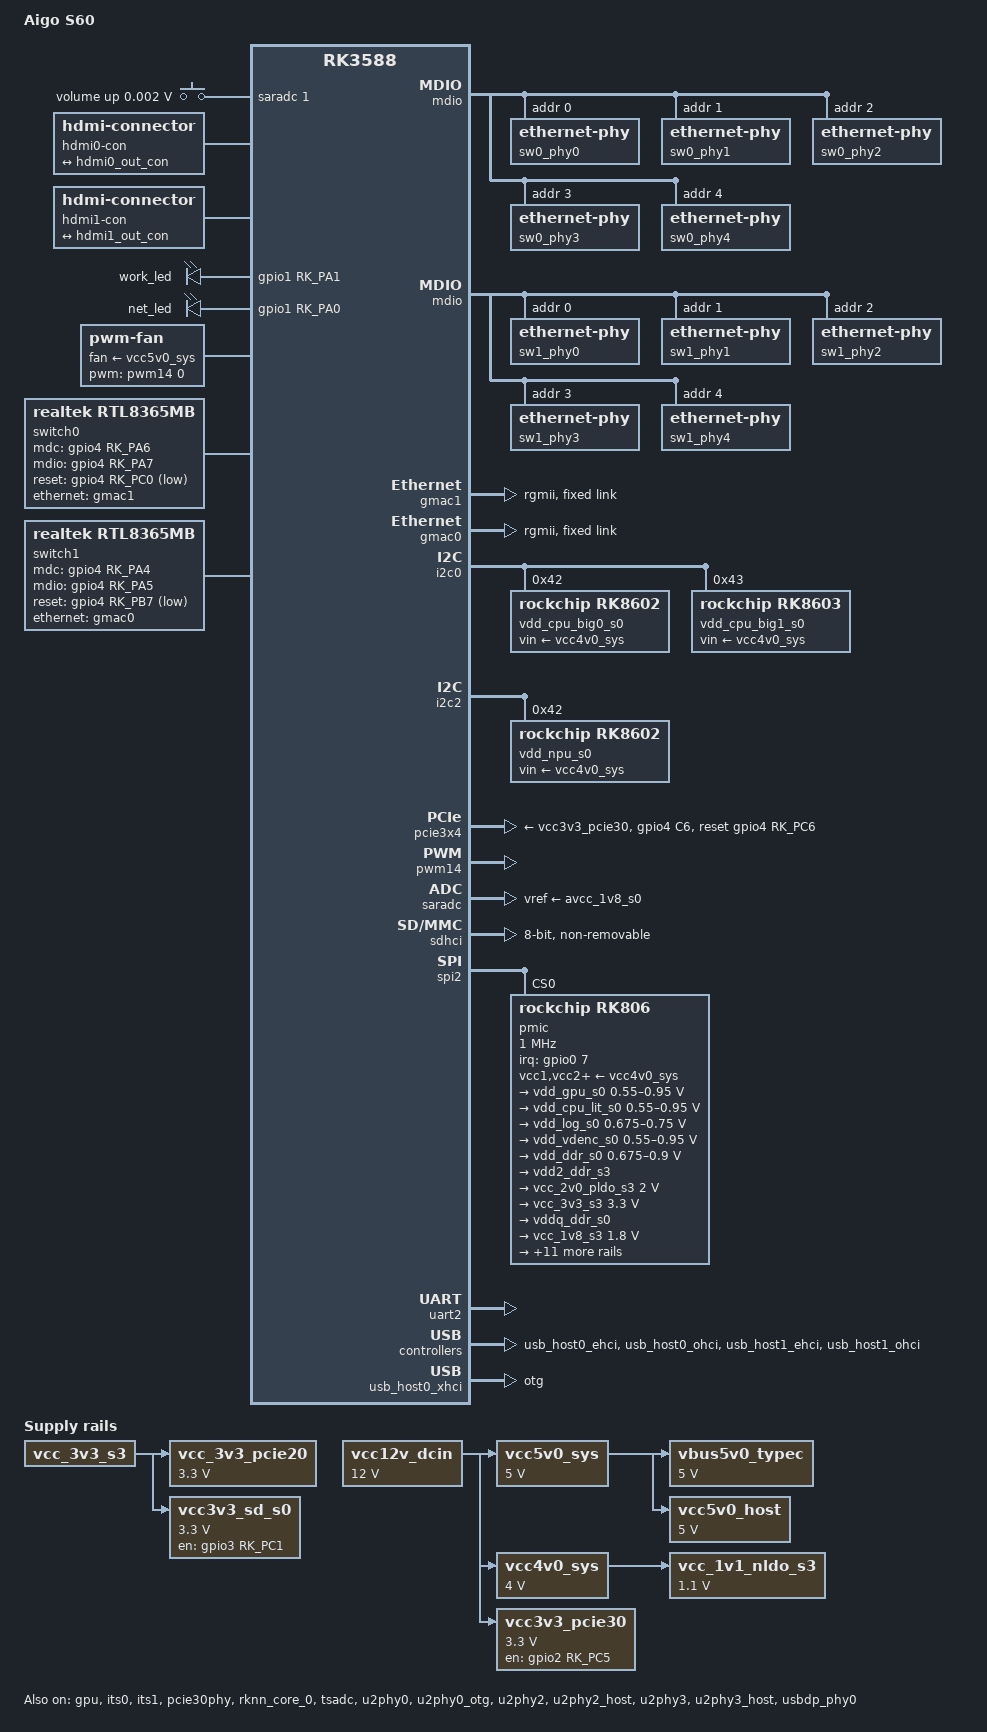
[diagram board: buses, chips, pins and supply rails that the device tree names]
// SPDX-License-Identifier: (GPL-2.0+ OR MIT)
/*
 * Copyright (c) 2021 Rockchip Electronics Co., Ltd.
 * Copyright (c) 2023 Thomas McKahan
 * Copyright (c) 2024 Linaro Ltd.
 *
 * AIoT-3588IED board device tree source
 * Based on rk3588-nanopc-t6.dtsi, with hardware
 * differences adjusted per factory-image boot.dts.
 */

/dts-v1/;

#include <dt-bindings/gpio/gpio.h>
#include <dt-bindings/input/input.h>
#include <dt-bindings/pinctrl/rockchip.h>
#include <dt-bindings/soc/rockchip,vop2.h>
#include <dt-bindings/thermal/thermal.h>
#include <dt-bindings/usb/pd.h>
#include "rk3588.dtsi"

/ {
	model = "Aigo S60";
	compatible = "rockchip,rk3588-aigo-s60", "rockchip,rk3588";

	aliases {
		mmc0 = &sdhci;
		mmc1 = &sdmmc;
		mmc2 = &sdio;
		ethernet0 = &gmac0;
		ethernet1 = &gmac1;
	};

	/* ADC keys on saradc channel 1, matching the official 6.1 BSP.
	 * The official DT configures only a vol-up key (threshold 1758μV). */
	adc-keys-0 {
		compatible = "adc-keys";
		io-channels = <&saradc 1>;
		io-channel-names = "buttons";
		keyup-threshold-microvolt = <1800000>;
		poll-interval = <100>;

		vol-up-key {
			label = "volume up";
			linux,code = <KEY_VOLUMEUP>;
			press-threshold-microvolt = <1750>;
		};
	};

	chosen {
		stdout-path = "serial2:1500000n8";
	};

	hdmi0-con {
		compatible = "hdmi-connector";
		type = "a";

		port {
			hdmi0_con_in: endpoint {
				remote-endpoint = <&hdmi0_out_con>;
			};
		};
	};

	hdmi1-con {
		compatible = "hdmi-connector";
		type = "a";

		port {
			hdmi1_con_in: endpoint {
				remote-endpoint = <&hdmi1_out_con>;
			};
		};
	};

	/* LEDs on gpio1 (gpio@fec20000), matching the official 6.1 BSP.
	 * The official DT uses net-led (gpio1 pin 0) and work-led (gpio1
	 * pin 1). The earlier nca9555 I2C GPIO-expander references are gone
	 * because i2c6 is disabled and the expander was never probed. */
	leds {
		compatible = "gpio-leds";

		work_led: work-led {
			gpios = <&gpio1 RK_PA1 GPIO_ACTIVE_HIGH>;
			linux,default-trigger = "heartbeat";
		};

		net_led: net-led {
			gpios = <&gpio1 RK_PA0 GPIO_ACTIVE_HIGH>;
			default-state = "off";
		};
	};

	/* PWM fan for thermal cooling, matching the official 6.1 BSP.
	 * The fan is on pwm14 (pwm@febf0020), NOT pwm1. Uses pwm14m0_pins
	 * as in the official DT. */
	fan: pwm-fan {
		compatible = "pwm-fan";
		cooling-levels = <0 50 100 150 200 255>;
		fan-supply = <&vcc5v0_sys>;
		pwms = <&pwm14 0 50000 0>;
		#cooling-cells = <2>;
	};

	/* sound node removed — es8388 codec was on i2c7, now disabled */

	vcc12v_dcin: regulator-vcc12v-dcin {
		compatible = "regulator-fixed";
		regulator-name = "vcc12v_dcin";
		regulator-always-on;
		regulator-boot-on;
		regulator-min-microvolt = <12000000>;
		regulator-max-microvolt = <12000000>;
	};

	/* vcc5v0_sys powers peripherals */
	vcc5v0_sys: regulator-vcc5v0-sys {
		compatible = "regulator-fixed";
		regulator-name = "vcc5v0_sys";
		regulator-always-on;
		regulator-boot-on;
		regulator-min-microvolt = <5000000>;
		regulator-max-microvolt = <5000000>;
		vin-supply = <&vcc12v_dcin>;
	};

	/* vcc4v0_sys powers the RK806, RK860's */
	vcc4v0_sys: regulator-vcc4v0-sys {
		compatible = "regulator-fixed";
		regulator-name = "vcc4v0_sys";
		regulator-always-on;
		regulator-boot-on;
		regulator-min-microvolt = <4000000>;
		regulator-max-microvolt = <4000000>;
		vin-supply = <&vcc12v_dcin>;
	};

	vcc_1v1_nldo_s3: regulator-vcc-1v1-nldo-s3 {
		compatible = "regulator-fixed";
		regulator-name = "vcc-1v1-nldo-s3";
		regulator-always-on;
		regulator-boot-on;
		regulator-min-microvolt = <1100000>;
		regulator-max-microvolt = <1100000>;
		vin-supply = <&vcc4v0_sys>;
	};

	vcc_3v3_pcie20: regulator-vcc3v3-pcie20 {
		compatible = "regulator-fixed";
		regulator-name = "vcc_3v3_pcie20";
		regulator-always-on;
		regulator-boot-on;
		regulator-min-microvolt = <3300000>;
		regulator-max-microvolt = <3300000>;
		vin-supply = <&vcc_3v3_s3>;
	};

	vbus5v0_typec: regulator-vbus5v0-typec {
		compatible = "regulator-fixed";
		enable-active-high;
		regulator-name = "vbus5v0_typec";
		regulator-min-microvolt = <5000000>;
		regulator-max-microvolt = <5000000>;
		vin-supply = <&vcc5v0_sys>;
	};

	vcc5v0_host: regulator-vcc5v0-host {
		compatible = "regulator-fixed";
		regulator-name = "vcc5v0_host";
		regulator-always-on;
		regulator-boot-on;
		regulator-min-microvolt = <5000000>;
		regulator-max-microvolt = <5000000>;
		vin-supply = <&vcc5v0_sys>;
	};

	vcc3v3_pcie30: regulator-vcc3v3-pcie30 {
		compatible = "regulator-fixed";
		enable-active-high;
		gpios = <&gpio2 RK_PC5 GPIO_ACTIVE_HIGH>;
		pinctrl-names = "default";
		pinctrl-0 = <&pcie_m2_0_pwren>;
		regulator-name = "vcc3v3_pcie30";
		regulator-min-microvolt = <3300000>;
		regulator-max-microvolt = <3300000>;
		startup-delay-us = <5000>;
		vin-supply = <&vcc12v_dcin>;
	};

	vcc3v3_sd_s0: regulator-vcc3v3-sd-s0 {
		compatible = "regulator-fixed";
		enable-active-high;
		gpio = <&gpio3 RK_PC1 GPIO_ACTIVE_HIGH>;
		pinctrl-names = "default";
		pinctrl-0 = <&sd_s0_pwren>;
		regulator-name = "vcc3v3_sd_s0";
		regulator-min-microvolt = <3300000>;
		regulator-max-microvolt = <3300000>;
		vin-supply = <&vcc_3v3_s3>;
	};

	/* RTL8365MB switch (switch0): 5 user ports (eth2..eth6).
	 * CPU port @7 connects to gmac1 (end1) via RGMII. Bit-bang SMI on gpio4.
	 * Pin mapping taken from the official 6.1 BSP device tree.
	 * Each port has a fixed label and local-mac-address (02:00:00:00:00:0x)
	 * so the names and MACs are stable across reboots. The GMAC masters
	 * are named end0/end1 (via their label property), leaving ethN free
	 * for the slave ports. */
	switch0: switch0 {
		compatible = "realtek,rtl8365mb";
		mdc-gpios = <&gpio4 RK_PA6 GPIO_ACTIVE_HIGH>;
		mdio-gpios = <&gpio4 RK_PA7 GPIO_ACTIVE_HIGH>;
		reset-gpios = <&gpio4 RK_PC0 GPIO_ACTIVE_LOW>;

		ports {
			#address-cells = <1>;
			#size-cells = <0>;

			port@0 {
				reg = <0>;
				label = "eth1";
				local-mac-address = [02 00 00 00 00 03];
				phy-handle = <&sw0_phy0>;
			};

			port@1 {
				reg = <1>;
				label = "eth2";
				local-mac-address = [02 00 00 00 00 04];
				phy-handle = <&sw0_phy1>;
			};

			port@2 {
				reg = <2>;
				label = "eth3";
				local-mac-address = [02 00 00 00 00 05];
				phy-handle = <&sw0_phy2>;
			};

			port@3 {
				reg = <3>;
				label = "eth4";
				local-mac-address = [02 00 00 00 00 06];
				phy-handle = <&sw0_phy3>;
			};

			port@4 {
				reg = <4>;
				label = "eth5";
				local-mac-address = [02 00 00 00 00 07];
				phy-handle = <&sw0_phy4>;
			};

			port@7 {
				reg = <7>;
				ethernet = <&gmac1>;
				phy-mode = "rgmii";

				fixed-link {
					speed = <1000>;
					full-duplex;
				};
			};
		};

		mdio {
			compatible = "realtek,smi-mdio";
			#address-cells = <1>;
			#size-cells = <0>;

			sw0_phy0: ethernet-phy@0 {
				reg = <0>;
			};

			sw0_phy1: ethernet-phy@1 {
				reg = <1>;
			};

			sw0_phy2: ethernet-phy@2 {
				reg = <2>;
			};

			sw0_phy3: ethernet-phy@3 {
				reg = <3>;
			};

			sw0_phy4: ethernet-phy@4 {
				reg = <4>;
			};
		};
	};

	/* RTL8367RB switch (switch1): 5 user ports (eth7..eth11).
	 * CPU port @6 connects to gmac0 (end0) via RGMII. Bit-bang SMI on gpio4.
	 * The upstream rtl8365mb driver auto-detects the chip by id; a
	 * matching compatible ("realtek,rtl8367rb") is added there.
	 * Each port has a fixed label and local-mac-address. */
	switch1: switch1 {
		/* fnos ships the upstream rtl8365mb.ko module whose
		 * of_match_table only lists "realtek,rtl8365mb" (it does NOT
		 * list "realtek,rtl8367rb"). Use "realtek,rtl8365mb" so the
		 * stock module probes this node; the driver's rtl8365mb_detect()
		 * still auto-detects the actual RTL8367RB-VB chip by reading
		 * the chip id over SMI (strings "RTL8367S"/"RTL8367RB-VB" are
		 * built into the module), exactly like it does for switch0
		 * which is also an RTL8367S behind the rtl8365mb compatible. */
		compatible = "realtek,rtl8365mb";
		mdc-gpios = <&gpio4 RK_PA4 GPIO_ACTIVE_HIGH>;
		mdio-gpios = <&gpio4 RK_PA5 GPIO_ACTIVE_HIGH>;
		reset-gpios = <&gpio4 RK_PB7 GPIO_ACTIVE_LOW>;
		/* Each switch is the sole member of its own DSA tree, so both
		 * get ds->index = 0. This is required because fnos ships the
		 * upstream tag_rtl8_4.ko which hardcodes
		 * dsa_conduit_find_user(dev, 0, port) -- device index 0. With
		 * dsa,member = <1 1> (index 1) the RX path could never resolve
		 * the user port and logged "could not find user for port N"
		 * for every ingress frame on end0. Using <1 0> makes switch1
		 * index 0 in tree 1, so the hardcoded lookup succeeds. */
		dsa,member = <1 0>;

		ports {
			#address-cells = <1>;
			#size-cells = <0>;

			port@0 {
				reg = <0>;
				label = "eth6";
				local-mac-address = [02 00 00 00 00 08];
				phy-handle = <&sw1_phy0>;
			};

			port@1 {
				reg = <1>;
				label = "eth7";
				local-mac-address = [02 00 00 00 00 09];
				phy-handle = <&sw1_phy1>;
			};

			port@2 {
				reg = <2>;
				label = "eth8";
				local-mac-address = [02 00 00 00 00 0a];
				phy-handle = <&sw1_phy2>;
			};

			port@3 {
				reg = <3>;
				label = "eth9";
				local-mac-address = [02 00 00 00 00 0b];
				phy-handle = <&sw1_phy3>;
			};

			port@4 {
				reg = <4>;
				label = "eth10";
				local-mac-address = [02 00 00 00 00 0c];
				phy-handle = <&sw1_phy4>;
			};

			/* CPU port: upstream rtl8365mb caps at 11 ports (mask 0x07FF),
			 * so port@16 (used by the Rockchip BSP proprietary rtl_api
			 * driver) is rejected.
			 *
			 * We use port@6 which maps to extint 1 in the rtl8365mb driver.
			 * The official Rockchip BSP rtl8367b driver maps RTL8367R_VB's
			 * cpu_port=5 → extif 1, and extif 1 corresponds to extint 1 in
			 * rtl8365mb (same physical RGMII interface, uses CHIP_DEBUG0/1
			 * registers, not CHIP_DEBUG2). On RTL8367RB-VB, extint 1
			 * supports RGMII (unlike RTL8367S where extint 1 is SGMII-only).
			 *
			 * port@7 + extint 2 was tried first but gmac0's DMA SFT_RESET
			 * stayed stuck (no RGMII RX clock), suggesting the board's
			 * RGMII traces for switch1 are physically routed to extint 1. */
			port@6 {
				reg = <6>;
				ethernet = <&gmac0>;
				phy-mode = "rgmii";

				fixed-link {
					speed = <1000>;
					full-duplex;
				};
			};
		};

		mdio {
			compatible = "realtek,smi-mdio";
			#address-cells = <1>;
			#size-cells = <0>;

			sw1_phy0: ethernet-phy@0 {
				reg = <0>;
			};

			sw1_phy1: ethernet-phy@1 {
				reg = <1>;
			};

			sw1_phy2: ethernet-phy@2 {
				reg = <2>;
			};

			sw1_phy3: ethernet-phy@3 {
				reg = <3>;
			};

			sw1_phy4: ethernet-phy@4 {
				reg = <4>;
			};
		};
	};
};

&combphy0_ps {
	status = "disabled";
};

&combphy1_ps {
	status = "disabled";
};

&combphy2_psu {
	status = "disabled";
};

&cpu_l0 {
	cpu-supply = <&vdd_cpu_lit_s0>;
};

&cpu_l1 {
	cpu-supply = <&vdd_cpu_lit_s0>;
};

&cpu_l2 {
	cpu-supply = <&vdd_cpu_lit_s0>;
};

&cpu_l3 {
	cpu-supply = <&vdd_cpu_lit_s0>;
};

&cpu_b0 {
	cpu-supply = <&vdd_cpu_big0_s0>;
};

&cpu_b1 {
	cpu-supply = <&vdd_cpu_big0_s0>;
};

&cpu_b2 {
	cpu-supply = <&vdd_cpu_big1_s0>;
};

&cpu_b3 {
	cpu-supply = <&vdd_cpu_big1_s0>;
};

/* GMAC1 (fe1c0000) — DSA CPU port for switch0 (RTL8365MB, eth1..eth5).
 * Uses wired SPI interrupts (GIC_SPI 234/233), NOT MSI, so it is safe
 * to enable even with ITS disabled. No PHY is attached directly; the
 * MAC links to the switch over RGMII with a fixed 1000M link.
 * Matches the official 6.1 BSP topology. */
&gmac1 {
	clock_in_out = "output";
	phy-mode = "rgmii";
	label = "end1";
	local-mac-address = [02 00 00 00 00 02];
	tx_delay = <0x4f>;
	rx_delay = <0x0f>;

	pinctrl-names = "default";
	pinctrl-0 = <&gmac1_tx_bus2
		     &gmac1_rx_bus2
		     &gmac1_rgmii_clk
		     &gmac1_rgmii_bus>;
	status = "okay";

	fixed-link {
		speed = <1000>;
		full-duplex;
	};
};

/* GMAC0 (fe1b0000) — DSA CPU port for switch1 (RTL8367RB, eth6..eth10).
 * Uses wired SPI interrupts (GIC_SPI 227/226), NOT MSI. Like gmac1, the
 * MAC links to the switch over RGMII with a fixed 1000M link. */
&gmac0 {
	clock_in_out = "output";
	phy-mode = "rgmii";
	label = "end0";
	local-mac-address = [02 00 00 00 00 01];
	tx_delay = <0x4f>;
	rx_delay = <0x0f>;

	pinctrl-names = "default";
	pinctrl-0 = <&gmac0_tx_bus2
		     &gmac0_rx_bus2
		     &gmac0_rgmii_clk
		     &gmac0_rgmii_bus>;
	status = "okay";

	fixed-link {
		speed = <1000>;
		full-duplex;
	};
};

/* Use a single RX/TX queue on both GMAC CPU ports, matching the official
 * 6.1 BSP. The inherited rk3588 dtsi configures 2 queues, which leaves
 * TX queue 1 stalled on gmac0 and triggers the NETDEV WATCHDOG /
 * "Failed to reset the dma" loop. With rx/tx-queues-to-use = <1> only
 * queue 0 is used and the watchdog no longer fires. */
&gmac0_mtl_rx_setup {
	snps,rx-queues-to-use = <1>;
};

&gmac0_mtl_tx_setup {
	snps,tx-queues-to-use = <1>;
};

&gmac1_mtl_rx_setup {
	snps,rx-queues-to-use = <1>;
};

&gmac1_mtl_tx_setup {
	snps,tx-queues-to-use = <1>;
};

&gpu {
	/* fnos ships Rockchip's vendor mali driver (rkgpu_bifrost_csf.ko)
	 * whose of_match_table lists "rockchip,rk3588-mali-csf" and
	 * "arm,mali-valhall". The upstream dtsi compatible
	 * "arm,mali-valhall-csf" is NOT in that table, so add the vendor
	 * string first to ensure the stock module matches. */
	compatible = "rockchip,rk3588-mali-csf", "rockchip,rk3588-mali",
		     "arm,mali-valhall-csf";
	mali-supply = <&vdd_gpu_s0>;
	status = "okay";
};

/* Re-enable ITS to match the official 6.1 BSP. The official kernel runs
 * with both ITS nodes enabled and no MSI hangs, so the RK3588001 erratum
 * does not affect this board. Keeping ITS disabled was found to correlate
 * with gmac0's SPI 227 interrupt never being delivered (eth1 IRQ count
 * stuck at 0, DMA watchdog loop), while the official kernel with ITS
 * enabled sees SPI 227 fire normally.
 * Also add dma-coherent to match the official DT (which has neither
 * dma-coherent nor dma-noncoherent, i.e. default coherent). The upstream
 * 6.18 rk3588 dtsi sets dma-noncoherent, forcing non-shareable ITS memory
 * which can break MSI; dma-coherent overrides that. */
&its0 {
	status = "okay";
	dma-coherent;
};

&its1 {
	status = "okay";
	dma-coherent;
};

/* Match the official 6.1 BSP: the GIC node there has no mbi-alias /
 * mbi-ranges / msi-controller properties, so the gic-v3-mbi MSI domain
 * is never created. The upstream 6.18 rk3588 dtsi adds mbi-ranges=<424 56>
 * which enables MBI; override it to an empty range so mbi_init() bails out
 * and does not register a competing MSI domain. Wired SPIs (including
 * gmac0 SPI 227) then behave exactly as on the official BSP. */
&gic {
	mbi-ranges = <0 0>;
};

&mmu600_pcie {
	status = "disabled";
};

&mmu600_php {
	status = "disabled";
};

&av1d {
	status = "disabled";
};

&av1d_mmu {
	status = "disabled";
};

&rga3_core1 {
	status = "disabled";
};

&rga3_1_mmu {
	status = "disabled";
};

&vepu121_1 {
	status = "disabled";
};

&vepu121_1_mmu {
	status = "disabled";
};

&vepu121_2 {
	status = "disabled";
};

&vepu121_2_mmu {
	status = "disabled";
};

&vepu121_3 {
	status = "disabled";
};

&vepu121_3_mmu {
	status = "disabled";
};

&vdec1 {
	status = "disabled";
};

&vdec1_mmu {
	status = "disabled";
};

&hdmi0 {
	status = "disabled";
};

&hdmi0_out {
	hdmi0_out_con: endpoint {
		remote-endpoint = <&hdmi0_con_in>;
	};
};

&hdmi1 {
	frl-enable-gpios = <&gpio1 RK_PC6 GPIO_ACTIVE_LOW>;
	pinctrl-0 = <&hdmim1_tx1_cec &hdmim0_tx1_hpd
		     &hdmim2_tx1_scl &hdmim2_tx1_sda &hdmi1_tx_on_h>;
	pinctrl-names = "default";
	status = "disabled";
};

&hdmi1_in {
	hdmi1_in_vp0: endpoint {
		remote-endpoint = <&vp0_out_hdmi1>;
	};
};

&hdmi1_out {
	hdmi1_out_con: endpoint {
		remote-endpoint = <&hdmi1_con_in>;
	};
};

&hdmi1_sound {
	status = "disabled";
};

&hdmi_receiver_cma {
	status = "disabled";
};

&hdmi_receiver {
	hpd-gpios = <&gpio1 RK_PD5 GPIO_ACTIVE_LOW>;
	pinctrl-0 = <&hdmim1_rx_cec &hdmim1_rx_hpdin &hdmim1_rx_scl &hdmim1_rx_sda &hdmirx_hpd>;
	pinctrl-names = "default";
	status = "disabled";
};

&hdptxphy0 {
	status = "disabled";
};

&hdptxphy1 {
	status = "disabled";
};

/* i2c0: CPU big-cluster regulators (rk8602@42 + rk8603@43), matching
 * the official 6.1 BSP. Uses i2c0m2_xfer (gpio0 PD1/PD2) — same pinctrl
 * mux as official DT (phandle 0x6f). */
&i2c0 {
	pinctrl-0 = <&i2c0m2_xfer>;
	pinctrl-names = "default";
	status = "okay";

	vdd_cpu_big0_s0: regulator@42 {
		compatible = "rockchip,rk8602";
		reg = <0x42>;
		fcs,suspend-voltage-selector = <1>;
		regulator-name = "vdd_cpu_big0_s0";
		regulator-always-on;
		regulator-boot-on;
		regulator-min-microvolt = <550000>;
		regulator-max-microvolt = <1050000>;
		regulator-ramp-delay = <2300>;
		vin-supply = <&vcc4v0_sys>;

		regulator-state-mem {
			regulator-off-in-suspend;
		};
	};

	vdd_cpu_big1_s0: regulator@43 {
		compatible = "rockchip,rk8603", "rockchip,rk8602";
		reg = <0x43>;
		fcs,suspend-voltage-selector = <1>;
		regulator-name = "vdd_cpu_big1_s0";
		regulator-always-on;
		regulator-boot-on;
		regulator-min-microvolt = <550000>;
		regulator-max-microvolt = <1050000>;
		regulator-ramp-delay = <2300>;
		vin-supply = <&vcc4v0_sys>;

		regulator-state-mem {
			regulator-off-in-suspend;
		};
	};
};

/* i2c1 disabled — matches official 6.1 BSP. No devices on this bus. */
&i2c1 {
	status = "disabled";
};

/* i2c2: only vdd_npu_s0 (rk8602@42), matching the official 6.1 BSP.
 * Uses i2c2m0_xfer (gpio0 PB7/PB8) — same pinctrl mux as official DT. */
&i2c2 {
	pinctrl-0 = <&i2c2m0_xfer>;
	pinctrl-names = "default";
	status = "okay";

	vdd_npu_s0: regulator@42 {
		compatible = "rockchip,rk8602";
		reg = <0x42>;
		fcs,suspend-voltage-selector = <1>;
		regulator-name = "vdd_npu_s0";
		regulator-always-on;
		regulator-boot-on;
		regulator-min-microvolt = <550000>;
		regulator-max-microvolt = <950000>;
		regulator-ramp-delay = <2300>;
		vin-supply = <&vcc4v0_sys>;

		regulator-state-mem {
			regulator-off-in-suspend;
		};
	};
};

/* i2c6 disabled — Type-C/RTC/GPIO-expander not needed for recovery.
 * Disabling avoids dangling phandle to removed usbdp_phy0_typec_ss. */
&i2c6 {
	status = "disabled";

	nca9555: gpio-expander@20 {
		compatible = "nxp,pca9555";
		reg = <0x20>;
		gpio-controller;
		#gpio-cells = <2>;
		status = "disabled";
	};

	usbc0: usb-typec@22 {
		compatible = "fcs,fusb302";
		reg = <0x22>;
		status = "disabled";
	};

	hym8563: rtc@51 {
		compatible = "haoyu,hym8563";
		reg = <0x51>;
		#clock-cells = <0>;
		clock-output-names = "hym8563";
		status = "disabled";
	};
};

/* i2c7 has audio codec + watchdog — not needed for recovery */
&i2c7 {
	status = "disabled";
};

&i2c8 {
	pinctrl-0 = <&i2c8m2_xfer>;
	pinctrl-names = "default";
};

&i2s0_8ch {
	status = "disabled";
};

&i2s5_8ch {
	status = "disabled";
};

&i2s6_8ch {
	status = "disabled";
};

&package_thermal {
	polling-delay = <1000>;

	trips {
		package_warm: package-warm {
			temperature = <55000>;
			hysteresis = <2000>;
			type = "active";
		};

		package_hot: package-hot {
			temperature = <65000>;
			hysteresis = <2000>;
			type = "active";
		};
	};

	cooling-maps {
		map0 {
			trip = <&package_warm>;
			cooling-device = <&fan THERMAL_NO_LIMIT 1>;
		};

		map1 {
			trip = <&package_hot>;
			cooling-device = <&fan 2 THERMAL_NO_LIMIT>;
		};
	};
};

&pcie2x1l0 {
	status = "disabled";
};

&pcie2x1l1 {
	status = "disabled";
};

&pcie2x1l2 {
	status = "disabled";
};

&pcie30phy {
	/* Match the official 6.1 BSP: phymode = <4> means the combo PHY is
	 * wired to the pcie3x4 controller (4-lane PCIe 3.0). */
	rockchip,pcie30-phymode = <4>;
	status = "okay";
};

&pcie3x4 {
	/* Enable the 4-lane PCIe 3.0 controller for the M.2 NVMe slot.
	 * All overrides below match the official factory firmware DTB
	 * (factory/boot.img-unpack rk-kernel.dtb, model "Rockchip RK3588
	 * NVR DEMO LP4 V10 S60 Board") to ensure the stock fnos kernel
	 * driver (pcie-dw-plat via "snps,dw-pcie") probes correctly.
	 *
	 * CRITICAL: the upstream dtsi uses compatible "rockchip,rk3568-pcie"
	 * which binds the pcie-dw-rockchip driver; that driver expects
	 * different reg-names/resets and caused a boot hang. The factory
	 * DTB uses "snps,dw-pcie" which binds the generic pcie-dw-plat
	 * driver — that is what we must match. */
	compatible = "rockchip,rk3588-pcie", "snps,dw-pcie";
	reg-names = "pcie-apb", "pcie-dbi", "config";
	reset-names = "pcie", "periph";
	rockchip,pipe-grf = <&php_grf>;
	num-ib-windows = <16>;
	num-ob-windows = <16>;
	num-viewport = <8>;
	/* The upstream dtsi adds iommu-map referencing mmu600_pcie which
	 * we keep disabled; remove it by overriding to empty (the factory
	 * DTB has no iommu-map at all). */
	/delete-property/ iommu-map;
	/* Board-specific GPIO and supply (same as factory DTB):
	 *   reset-gpios   = gpio4 RK_PC6 (PERST#)
	 *   vpcie3v3-supply = vcc3v3_pcie30 (gpio2 RK_PC5 enable) */
	reset-gpios = <&gpio4 RK_PC6 GPIO_ACTIVE_HIGH>;
	vpcie3v3-supply = <&vcc3v3_pcie30>;
	pinctrl-names = "default";
	pinctrl-0 = <&pcie30x4_rst>;
	status = "okay";
};

&pinctrl {
	hdmi {
		hdmi1_tx_on_h: hdmi1-tx-on-h {
			rockchip,pins = <1 RK_PC6 RK_FUNC_GPIO &pcfg_pull_none>;
		};
	};

	hdmirx {
		hdmirx_hpd: hdmirx-5v-detection {
			rockchip,pins = <1 RK_PD5 RK_FUNC_GPIO &pcfg_pull_none>;
		};
	};

	pcie {
		pcie2_0_rst: pcie2-0-rst {
			rockchip,pins = <3 RK_PC6 RK_FUNC_GPIO &pcfg_pull_none>;
		};

		pcie2_2_rst: pcie2-2-rst {
			rockchip,pins = <1 RK_PB4 RK_FUNC_GPIO &pcfg_pull_none>;
		};

		pcie_m2_0_pwren: pcie-m20-pwren {
			rockchip,pins = <2 RK_PC5 RK_FUNC_GPIO &pcfg_pull_none>;
		};

		/* PERST# for the M.2 NVMe slot (pcie3x4), matching the
		 * official factory firmware: gpio4 RK_PC6. */
		pcie30x4_rst: pcie30x4-rst {
			rockchip,pins = <4 RK_PC6 RK_FUNC_GPIO &pcfg_pull_none>;
		};

		wifi_poweren: wifi-poweren {
			rockchip,pins = <1 RK_PA5 RK_FUNC_GPIO &pcfg_pull_up>;
		};
	};

	usb {
		usbc0_int: usbc0-int {
			rockchip,pins = <0 RK_PD3 RK_FUNC_GPIO &pcfg_pull_up>;
		};
	};

	sdmmc {
		sd_s0_pwren: sd-s0-pwren {
			rockchip,pins = <3 RK_PC1 RK_FUNC_GPIO &pcfg_pull_none>;
		};
	};

	sdio {
		sdiom0_pins: sdiom0-pins {
			rockchip,pins =
				/* sdio_clk_m0 */
				<2 RK_PB3 2 &pcfg_pull_none>,
				/* sdio_cmd_m0 */
				<2 RK_PB2 2 &pcfg_pull_up>,
				/* sdio_d0_m0 */
				<2 RK_PA6 2 &pcfg_pull_up>,
				/* sdio_d1_m0 */
				<2 RK_PA7 2 &pcfg_pull_up>,
				/* sdio_d2_m0 */
				<2 RK_PB0 2 &pcfg_pull_up>,
				/* sdio_d3_m0 */
				<2 RK_PB1 2 &pcfg_pull_up>;
		};
	};
};

/* pwm14 enabled for pwm-fan (fan on pwm14m0_pins), matching official BSP.
 * pwm1 is disabled — it was incorrectly used for the fan before. */
&pwm1 {
	status = "disabled";
};

&pwm14 {
	status = "okay";
	pinctrl-0 = <&pwm14m0_pins>;
	pinctrl-names = "default";
};

/* ---- NPU ----
 * fnos ships Rockchip's vendor rknpu.ko whose of_match_table lists
 * "rockchip,rk3588-rknpu" (a SINGLE node covering all 3 cores), NOT the
 * upstream "rockchip,rk3588-rknn-core" (three separate nodes).
 *
 * Strategy: repurpose the existing rknn_core_0 node (already at
 * 0xfdab0000) by overriding its compatible/properties to match the
 * vendor driver, delete the other two core nodes, and disable all
 * three upstream mmu nodes (keep them for the phandle reference but
 * never probe).
 *
 * NOTE on iommu: the BSP uses "rockchip,iommu-v2" for the NPU iommu,
 * but fnos has no driver for that compatible (only the upstream
 * "rockchip,rk3588-iommu"). If the upstream rockchip-iommu driver
 * probes the NPU iommu, it request_mem_region's 0xfdab9000, which
 * overlaps the NPU's 64KB reg window (0xfdab0000-0xfdabffff) and
 * produces -EBUSY. Keep rknn_mmu_0 status="disabled" so the iommu
 * driver never probes; the rknpu driver then runs in non-iommu mode
 * ("using non-iommu mode"), which is exactly how the official BSP
 * behaves on fnos (its iommu-v2 driver simply never matched).
 */
/delete-node/ &rknn_core_1;
/delete-node/ &rknn_core_2;

/* Keep rknn_mmu_* nodes present (so the iommus phandle resolves) but
 * disabled, so the rockchip-iommu driver never probes them. */
&rknn_mmu_0 { status = "disabled"; };
&rknn_mmu_1 { status = "disabled"; };
&rknn_mmu_2 { status = "disabled"; };

/* Repurpose rknn_core_0 (npu@fdab0000) as the vendor-style single NPU
 * node. Override compatible, expand reg to cover all 3 cores, add the
 * 2nd/3rd interrupts, 3 power domains, rknpu-supply for DVFS. */
&rknn_core_0 {
	compatible = "rockchip,rk3588-rknpu";
	reg = <0x0 0xfdab0000 0x0 0x10000>,
	      <0x0 0xfdac0000 0x0 0x10000>,
	      <0x0 0xfdad0000 0x0 0x10000>;
	reg-names = "pc", "cna", "core";
	interrupts = <GIC_SPI 110 IRQ_TYPE_LEVEL_HIGH 0>,
		     <GIC_SPI 111 IRQ_TYPE_LEVEL_HIGH 0>,
		     <GIC_SPI 112 IRQ_TYPE_LEVEL_HIGH 0>;
	interrupt-names = "npu0_irq", "npu1_irq", "npu2_irq";
	clocks = <&cru ACLK_NPU0>, <&cru ACLK_NPU1>,
		 <&cru ACLK_NPU2>, <&cru HCLK_NPU0>,
		 <&cru HCLK_NPU1>, <&cru HCLK_NPU2>,
		 <&scmi_clk SCMI_CLK_NPU>, <&cru PCLK_NPU_ROOT>;
	clock-names = "aclk0", "aclk1", "aclk2",
		      "hclk0", "hclk1", "hclk2",
		      "npu", "pclk";
	resets = <&cru SRST_A_RKNN0>, <&cru SRST_A_RKNN1>,
		 <&cru SRST_A_RKNN2>, <&cru SRST_H_RKNN0>,
		 <&cru SRST_H_RKNN1>, <&cru SRST_H_RKNN2>;
	reset-names = "srst_a0", "srst_a1", "srst_a2",
		      "srst_h0", "srst_h1", "srst_h2";
	power-domains = <&power RK3588_PD_NPUTOP>,
			<&power RK3588_PD_NPU1>,
			<&power RK3588_PD_NPU2>;
	power-domain-names = "npu0", "npu1", "npu2";
	operating-points-v2 = <&npu_opp_table>;
	/* iommus points at the (disabled) rknn_mmu_0. Because the mmu node
	 * is status="disabled", the iommu driver never probes and the rknpu
	 * driver falls back to non-iommu mode. Keeping the reference avoids
	 * a DTC phandle error. */
	iommus = <&rknn_mmu_0>;
	rknpu-supply = <&vdd_npu_s0>;
	status = "okay";
};

&{/} {
	npu_opp_table: opp-table-npu {
		compatible = "operating-points-v2";

		opp-300000000 {
			opp-hz = /bits/ 64 <300000000>;
			opp-microvolt = <700000 700000 850000>;
		};
		opp-400000000 {
			opp-hz = /bits/ 64 <400000000>;
			opp-microvolt = <700000 700000 850000>;
		};
		opp-500000000 {
			opp-hz = /bits/ 64 <500000000>;
			opp-microvolt = <700000 700000 850000>;
		};
		opp-600000000 {
			opp-hz = /bits/ 64 <600000000>;
			opp-microvolt = <700000 700000 850000>;
		};
		opp-700000000 {
			opp-hz = /bits/ 64 <700000000>;
			opp-microvolt = <750000 750000 850000>;
		};
		opp-800000000 {
			opp-hz = /bits/ 64 <800000000>;
			opp-microvolt = <800000 800000 850000>;
		};
		opp-900000000 {
			opp-hz = /bits/ 64 <900000000>;
			opp-microvolt = <850000 850000 850000>;
		};
		opp-1000000000 {
			opp-hz = /bits/ 64 <1000000000>;
			opp-microvolt = <900000 900000 950000>;
		};
	};
};

&saradc {
	vref-supply = <&avcc_1v8_s0>;
	status = "okay";
};

&sdhci {
	bus-width = <8>;
	no-sdio;
	no-sd;
	non-removable;
	max-frequency = <200000000>;
	mmc-hs400-1_8v;
	mmc-hs400-enhanced-strobe;
	status = "okay";
};

&sdio {
	bus-width = <4>;
	cap-mmc-highspeed;
	mmc-ddr-1_8v;
	mmc-hs400-1_8v;
	non-removable;
	no-sd;
	no-sdio;
	keep-power-in-suspend;
	max-frequency = <150000000>;
	pinctrl-names = "default";
	pinctrl-0 = <&sdiom0_pins>;
	status = "disabled";
};

&sdmmc {
	bus-width = <4>;
	cap-mmc-highspeed;
	cap-sd-highspeed;
	disable-wp;
	no-mmc;
	no-sdio;
	sd-uhs-sdr104;
	vmmc-supply = <&vcc3v3_sd_s0>;
	vqmmc-supply = <&vccio_sd_s0>;
	status = "disabled";
};

/* optional on non-LTS, populated on LTS version */
&sfc {
	status = "disabled";
};

&spi2 {
	status = "okay";
	assigned-clocks = <&cru CLK_SPI2>;
	assigned-clock-rates = <200000000>;
	pinctrl-names = "default";
	pinctrl-0 = <&spi2m2_cs0 &spi2m2_pins>;
	num-cs = <1>;

	pmic@0 {
		compatible = "rockchip,rk806";
		spi-max-frequency = <1000000>;
		reg = <0x0>;

		interrupt-parent = <&gpio0>;
		interrupts = <7 IRQ_TYPE_LEVEL_LOW>;

		pinctrl-names = "default";
		pinctrl-0 = <&pmic_pins>;

		system-power-controller;

		vcc1-supply = <&vcc4v0_sys>;
		vcc2-supply = <&vcc4v0_sys>;
		vcc3-supply = <&vcc4v0_sys>;
		vcc4-supply = <&vcc4v0_sys>;
		vcc5-supply = <&vcc4v0_sys>;
		vcc6-supply = <&vcc4v0_sys>;
		vcc7-supply = <&vcc4v0_sys>;
		vcc8-supply = <&vcc4v0_sys>;
		vcc9-supply = <&vcc4v0_sys>;
		vcc10-supply = <&vcc4v0_sys>;
		vcc11-supply = <&vcc4v0_sys>;
		vcc12-supply = <&vcc4v0_sys>;
		vcc13-supply = <&vcc4v0_sys>;
		vcc14-supply = <&vcc4v0_sys>;
		vcca-supply = <&vcc4v0_sys>;

		gpio-controller;
		#gpio-cells = <2>;

		regulators {
			vdd_gpu_s0: vdd_gpu_mem_s0: dcdc-reg1 {
				regulator-boot-on;
				regulator-min-microvolt = <550000>;
				regulator-max-microvolt = <950000>;
				regulator-ramp-delay = <12500>;
				regulator-name = "vdd_gpu_s0";
				regulator-enable-ramp-delay = <400>;

				regulator-state-mem {
					regulator-off-in-suspend;
				};
			};

			vdd_cpu_lit_s0: vdd_cpu_lit_mem_s0: dcdc-reg2 {
				regulator-always-on;
				regulator-boot-on;
				regulator-min-microvolt = <550000>;
				regulator-max-microvolt = <950000>;
				regulator-ramp-delay = <12500>;
				regulator-name = "vdd_cpu_lit_s0";

				regulator-state-mem {
					regulator-off-in-suspend;
				};
			};

			vdd_log_s0: dcdc-reg3 {
				regulator-always-on;
				regulator-boot-on;
				regulator-min-microvolt = <675000>;
				regulator-max-microvolt = <750000>;
				regulator-ramp-delay = <12500>;
				regulator-name = "vdd_log_s0";

				regulator-state-mem {
					regulator-off-in-suspend;
					regulator-suspend-microvolt = <750000>;
				};
			};

			vdd_vdenc_s0: vdd_vdenc_mem_s0: dcdc-reg4 {
				regulator-always-on;
				regulator-boot-on;
				regulator-min-microvolt = <550000>;
				regulator-max-microvolt = <950000>;
				regulator-ramp-delay = <12500>;
				regulator-name = "vdd_vdenc_s0";

				regulator-state-mem {
					regulator-off-in-suspend;
				};
			};

			vdd_ddr_s0: dcdc-reg5 {
				regulator-always-on;
				regulator-boot-on;
				regulator-min-microvolt = <675000>;
				regulator-max-microvolt = <900000>;
				regulator-ramp-delay = <12500>;
				regulator-name = "vdd_ddr_s0";

				regulator-state-mem {
					regulator-off-in-suspend;
					regulator-suspend-microvolt = <850000>;
				};
			};

			vdd2_ddr_s3: dcdc-reg6 {
				regulator-always-on;
				regulator-boot-on;
				regulator-name = "vdd2_ddr_s3";

				regulator-state-mem {
					regulator-on-in-suspend;
				};
			};

			vcc_2v0_pldo_s3: dcdc-reg7 {
				regulator-always-on;
				regulator-boot-on;
				regulator-min-microvolt = <2000000>;
				regulator-max-microvolt = <2000000>;
				regulator-ramp-delay = <12500>;
				regulator-name = "vcc_2v0_pldo_s3";

				regulator-state-mem {
					regulator-on-in-suspend;
					regulator-suspend-microvolt = <2000000>;
				};
			};

			vcc_3v3_s3: dcdc-reg8 {
				regulator-always-on;
				regulator-boot-on;
				regulator-min-microvolt = <3300000>;
				regulator-max-microvolt = <3300000>;
				regulator-name = "vcc_3v3_s3";

				regulator-state-mem {
					regulator-on-in-suspend;
					regulator-suspend-microvolt = <3300000>;
				};
			};

			vddq_ddr_s0: dcdc-reg9 {
				regulator-always-on;
				regulator-boot-on;
				regulator-name = "vddq_ddr_s0";

				regulator-state-mem {
					regulator-off-in-suspend;
				};
			};

			vcc_1v8_s3: dcdc-reg10 {
				regulator-always-on;
				regulator-boot-on;
				regulator-min-microvolt = <1800000>;
				regulator-max-microvolt = <1800000>;
				regulator-name = "vcc_1v8_s3";

				regulator-state-mem {
					regulator-on-in-suspend;
					regulator-suspend-microvolt = <1800000>;
				};
			};

			avcc_1v8_s0: pldo-reg1 {
				regulator-always-on;
				regulator-boot-on;
				regulator-min-microvolt = <1800000>;
				regulator-max-microvolt = <1800000>;
				regulator-name = "avcc_1v8_s0";

				regulator-state-mem {
					regulator-off-in-suspend;
				};
			};

			vcc_1v8_s0: pldo-reg2 {
				regulator-always-on;
				regulator-boot-on;
				regulator-min-microvolt = <1800000>;
				regulator-max-microvolt = <1800000>;
				regulator-name = "vcc_1v8_s0";

				regulator-state-mem {
					regulator-off-in-suspend;
					regulator-suspend-microvolt = <1800000>;
				};
			};

			avdd_1v2_s0: pldo-reg3 {
				regulator-always-on;
				regulator-boot-on;
				regulator-min-microvolt = <1200000>;
				regulator-max-microvolt = <1200000>;
				regulator-name = "avdd_1v2_s0";

				regulator-state-mem {
					regulator-off-in-suspend;
				};
			};

			vcc_3v3_s0: pldo-reg4 {
				regulator-always-on;
				regulator-boot-on;
				regulator-min-microvolt = <3300000>;
				regulator-max-microvolt = <3300000>;
				regulator-ramp-delay = <12500>;
				regulator-name = "vcc_3v3_s0";

				regulator-state-mem {
					regulator-off-in-suspend;
				};
			};

			vccio_sd_s0: pldo-reg5 {
				regulator-always-on;
				regulator-boot-on;
				regulator-min-microvolt = <1800000>;
				regulator-max-microvolt = <3300000>;
				regulator-ramp-delay = <12500>;
				regulator-name = "vccio_sd_s0";

				regulator-state-mem {
					regulator-off-in-suspend;
				};
			};

			pldo6_s3: pldo-reg6 {
				regulator-always-on;
				regulator-boot-on;
				regulator-min-microvolt = <1800000>;
				regulator-max-microvolt = <1800000>;
				regulator-name = "pldo6_s3";

				regulator-state-mem {
					regulator-on-in-suspend;
					regulator-suspend-microvolt = <1800000>;
				};
			};

			vdd_0v75_s3: nldo-reg1 {
				regulator-always-on;
				regulator-boot-on;
				regulator-min-microvolt = <750000>;
				regulator-max-microvolt = <750000>;
				regulator-name = "vdd_0v75_s3";

				regulator-state-mem {
					regulator-on-in-suspend;
					regulator-suspend-microvolt = <750000>;
				};
			};

			vdd_ddr_pll_s0: nldo-reg2 {
				regulator-always-on;
				regulator-boot-on;
				regulator-min-microvolt = <850000>;
				regulator-max-microvolt = <850000>;
				regulator-name = "vdd_ddr_pll_s0";

				regulator-state-mem {
					regulator-off-in-suspend;
					regulator-suspend-microvolt = <850000>;
				};
			};

			avdd_0v75_s0: nldo-reg3 {
				regulator-always-on;
				regulator-boot-on;
				regulator-min-microvolt = <750000>;
				regulator-max-microvolt = <750000>;
				regulator-name = "avdd_0v75_s0";

				regulator-state-mem {
					regulator-off-in-suspend;
				};
			};

			vdd_0v85_s0: nldo-reg4 {
				regulator-always-on;
				regulator-boot-on;
				regulator-min-microvolt = <850000>;
				regulator-max-microvolt = <850000>;
				regulator-name = "vdd_0v85_s0";

				regulator-state-mem {
					regulator-off-in-suspend;
				};
			};

			vdd_0v75_s0: nldo-reg5 {
				regulator-always-on;
				regulator-boot-on;
				regulator-min-microvolt = <750000>;
				regulator-max-microvolt = <750000>;
				regulator-name = "vdd_0v75_s0";

				regulator-state-mem {
					regulator-off-in-suspend;
				};
			};
		};
	};
};

&tsadc {
	status = "okay";
};

&uart2 {
	pinctrl-0 = <&uart2m0_xfer>;
	pinctrl-names = "default";
	status = "okay";
};

/* All USB disabled — headless recovery doesn't need USB.
 * Also USB controllers use MSI via ITS which hangs on RK3588001 erratum. */
/* USB — match the official factory firmware. Enable u2phy0/2/3 and the
 * ehci/ohci host controllers for the USB-A ports. The OTG controller
 * (usb_host0_xhci) is enabled in otg mode with usb-role-switch.
 * u2phy1 and usbdp_phy1 stay disabled (factory firmware disables them). */
&u2phy0 { status = "okay"; };
&u2phy0_otg { status = "okay"; };
&u2phy2 { status = "okay"; };
&u2phy2_host { status = "okay"; };
&u2phy3 { status = "okay"; };
&u2phy3_host { status = "okay"; };
&usbdp_phy0 { status = "okay"; };
&usbdp_phy1 { status = "disabled"; };
&u2phy1 { status = "disabled"; };
&u2phy1_otg { status = "disabled"; };
&usb_host0_ehci { status = "okay"; };
&usb_host0_ohci { status = "okay"; };
&usb_host0_xhci {
	dr_mode = "otg";
	usb-role-switch;
	status = "okay";
};
&usb_host1_ehci { status = "okay"; };
&usb_host1_ohci { status = "okay"; };
&usb_host1_xhci { status = "disabled"; };
&usb_host2_xhci { status = "disabled"; };

/* VOP/display disabled — headless recovery */
&vop { status = "disabled"; };
&vop_mmu { status = "disabled"; };

&vp0 {
	vp0_out_hdmi1: endpoint@ROCKCHIP_VOP2_EP_HDMI1 {
		reg = <ROCKCHIP_VOP2_EP_HDMI1>;
		remote-endpoint = <&hdmi1_in_vp0>;
	};
};

&vp1 {
};

&wdt {
	status = "disabled";
};
